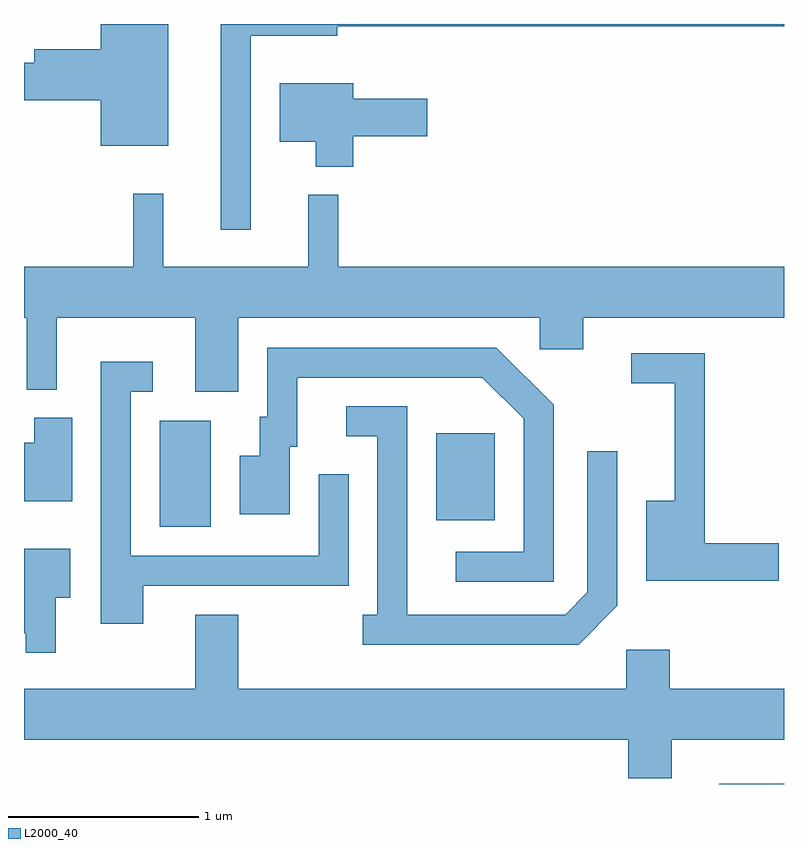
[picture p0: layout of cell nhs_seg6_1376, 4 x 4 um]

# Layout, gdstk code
import gdstk
lib = gdstk.Library(unit=1e-6, precision=1e-09)
def R(c, l, rs):  # rectangles x0, y0, x1, y1
    for r in rs: c.add(gdstk.rectangle(r[:2], r[2:], *l))
def P(c, l, *ps):  # polygons
    for p in ps: c.add(gdstk.Polygon(p, *l))
L2000_40 = (2000, 40)

nhs_seg6_1376 = lib.new_cell('nhs_seg6_1376')
R(nhs_seg6_1376, L2000_40, [(226.326,1635.516,226.594,1636.074), (227.781,1635.551,228.089,1636.009)])
P(nhs_seg6_1376, L2000_40, [(226.804,1638.101),(227.259,1638.101),(227.259,1638.151),(229.611,1638.151),(229.611,1638.162),(226.646,1638.162),(226.646,1637.078),(226.804,1637.078)],
  [(226.369,1638.162),(226.016,1638.162),(226.016,1638.029),(225.666,1638.029),(225.666,1637.959),(225.611,1637.959),(225.611,1637.761),(226.016,1637.761),(226.016,1637.521),(226.369,1637.521)],
  [(227.344,1637.571),(227.734,1637.571),(227.734,1637.769),(227.344,1637.769),(227.344,1637.849),(226.956,1637.849),(226.956,1637.541),(227.146,1637.541),(227.146,1637.411),(227.344,1637.411)],
  [(226.739,1636.616),(228.326,1636.616),(228.326,1636.451),(228.554,1636.451),(228.554,1636.616),(229.611,1636.616),(229.611,1636.884),(227.264,1636.884),(227.264,1637.263),(227.106,1637.263),(227.106,1636.884),(226.344,1636.884),(226.344,1637.268),(226.186,1637.268),(226.186,1636.884),(225.611,1636.884),(225.611,1636.616),(225.626,1636.616),(225.626,1636.238),(225.784,1636.238),(225.784,1636.616),(226.511,1636.616),(226.511,1636.226),(226.739,1636.226)],
  [(228.399,1636.157),(228.097,1636.459),(226.891,1636.459),(226.891,1636.094),(226.851,1636.094),(226.851,1635.889),(226.746,1635.889),(226.746,1635.581),(227.009,1635.581),(227.009,1635.936),(227.049,1635.936),(227.049,1636.301),(228.024,1636.301),(228.241,1636.084),(228.241,1635.384),(227.883,1635.384),(227.883,1635.226),(228.399,1635.226)],
  [(229.584,1635.429),(229.194,1635.429),(229.194,1636.429),(228.808,1636.429),(228.808,1636.271),(229.036,1636.271),(229.036,1635.654),(228.886,1635.654),(228.886,1635.231),(229.584,1635.231)],
  [(226.239,1635.206),(227.319,1635.206),(227.319,1635.793),(227.161,1635.793),(227.161,1635.364),(226.174,1635.364),(226.174,1636.226),(226.288,1636.226),(226.288,1636.384),(226.016,1636.384),(226.016,1635.006),(226.239,1635.006)],
  [(228.734,1635.099),(228.734,1635.913),(228.576,1635.913),(228.576,1635.172),(228.459,1635.054),(227.629,1635.054),(227.629,1636.149),(227.308,1636.149),(227.308,1635.991),(227.471,1635.991),(227.471,1635.054),(227.393,1635.054),(227.393,1634.896),(228.532,1634.896)],
  [(225.864,1636.089),(225.666,1636.089),(225.666,1635.959),(225.611,1635.959),(225.611,1635.651),(225.864,1635.651)],
  [(225.779,1635.141),(225.854,1635.141),(225.854,1635.399),(225.611,1635.399),(225.611,1634.956),(225.621,1634.956),(225.621,1634.853),(225.779,1634.853)],
  [(229.009,1634.869),(228.781,1634.869),(228.781,1634.664),(226.739,1634.664),(226.739,1635.054),(226.511,1635.054),(226.511,1634.664),(225.611,1634.664),(225.611,1634.396),(228.791,1634.396),(228.791,1634.191),(229.019,1634.191),(229.019,1634.396),(229.611,1634.396),(229.611,1634.664),(229.009,1634.664)],
  [(229.611,1634.164),(229.269,1634.164),(229.267,1634.162),(229.611,1634.162)])

lib.write_gds('nhs_seg6_1376.gds')
